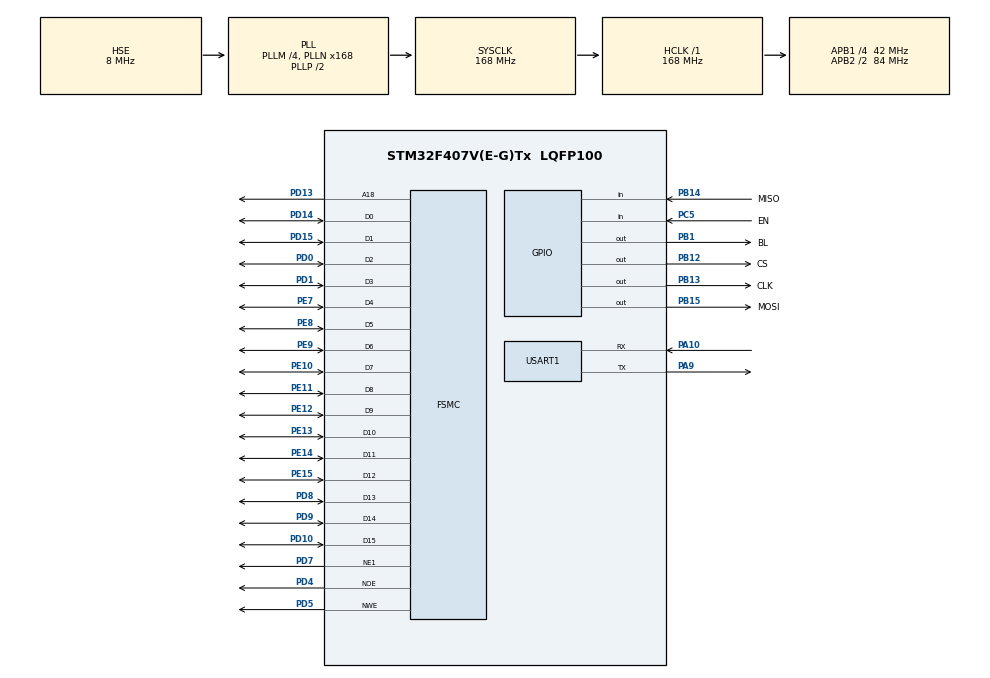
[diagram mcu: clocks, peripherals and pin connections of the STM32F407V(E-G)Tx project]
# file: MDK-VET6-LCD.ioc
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FSMC.AddressSetupTime1=0
FSMC.BusTurnAroundDuration1=0
FSMC.DataSetupTime1=60
FSMC.ExtendedAddressSetupTime1=0
FSMC.ExtendedBusTurnAroundDuration1=0
FSMC.ExtendedDataSetupTime1=2
FSMC.ExtendedMode1=FSMC_EXTENDED_MODE_ENABLE
Mcu.Family=STM32F4
Mcu.Name=STM32F407V(E-G)Tx
Mcu.Package=LQFP100
NVIC.PriorityGroup=NVIC_PRIORITYGROUP_4
PA10.Mode=Asynchronous
PA10.Signal=USART1_RX
PA13.Mode=Serial_Wire
PA13.Signal=SYS_JTMS-SWDIO
PA14.Mode=Serial_Wire
PA14.Signal=SYS_JTCK-SWCLK
PA9.Mode=Asynchronous
PA9.Signal=USART1_TX
PB1.GPIO_Label=BL
PB1.GPIO_Speed=GPIO_SPEED_FREQ_VERY_HIGH
PB1.Signal=GPIO_Output
PB12.GPIO_Label=CS
PB12.GPIO_PuPd=GPIO_NOPULL
PB12.GPIO_Speed=GPIO_SPEED_FREQ_VERY_HIGH
PB12.Signal=GPIO_Output
PB13.GPIO_Label=CLK
PB13.GPIO_PuPd=GPIO_NOPULL
PB13.GPIO_Speed=GPIO_SPEED_FREQ_VERY_HIGH
PB13.Signal=GPIO_Output
PB14.GPIO_Label=MISO
PB14.GPIO_PuPd=GPIO_PULLUP
PB14.Signal=GPIO_Input
PB15.GPIO_Label=MOSI
PB15.GPIO_PuPd=GPIO_NOPULL
PB15.GPIO_Speed=GPIO_SPEED_FREQ_VERY_HIGH
PB15.Signal=GPIO_Output
PC5.GPIO_Label=EN
PC5.GPIO_PuPd=GPIO_PULLDOWN
PC5.Signal=GPIO_Input
PD0.Mode=16b-d1
PD0.Signal=FSMC_D2
PD1.Mode=16b-d1
PD1.Signal=FSMC_D3
PD10.Mode=16b-d1
PD10.Signal=FSMC_D15
PD13.Mode=A18_1
PD13.Signal=FSMC_A18
PD14.Mode=16b-d1
PD14.Signal=FSMC_D0
PD15.Mode=16b-d1
PD15.Signal=FSMC_D1
PD4.Mode=Lcd1
PD4.Signal=FSMC_NOE
PD5.Mode=Lcd1
PD5.Signal=FSMC_NWE
PD7.Mode=NorPsramChipSelect1_1
PD7.Signal=FSMC_NE1
PD8.Mode=16b-d1
PD8.Signal=FSMC_D13
PD9.Mode=16b-d1
PD9.Signal=FSMC_D14
PE10.Mode=16b-d1
PE10.Signal=FSMC_D7
PE11.Mode=16b-d1
PE11.Signal=FSMC_D8
PE12.Mode=16b-d1
PE12.Signal=FSMC_D9
PE13.Mode=16b-d1
PE13.Signal=FSMC_D10
PE14.Mode=16b-d1
PE14.Signal=FSMC_D11
PE15.Mode=16b-d1
PE15.Signal=FSMC_D12
PE7.Mode=16b-d1
PE7.Signal=FSMC_D4
PE8.Mode=16b-d1
PE8.Signal=FSMC_D5
PE9.Mode=16b-d1
PE9.Signal=FSMC_D6
PH0-OSC_IN.Mode=HSE-External-Oscillator
PH0-OSC_IN.Signal=RCC_OSC_IN
PH1-OSC_OUT.Mode=HSE-External-Oscillator
PH1-OSC_OUT.Signal=RCC_OSC_OUT
ProjectManager.HeapSize=0x200
ProjectManager.StackSize=0x400
ProjectManager.TargetToolchain=MDK-ARM V5.32
RCC.48MHZClocksFreq_Value=84000000
RCC.AHBFreq_Value=168000000
RCC.APB1CLKDivider=RCC_HCLK_DIV4
RCC.APB1Freq_Value=42000000
RCC.APB1TimFreq_Value=84000000
RCC.APB2CLKDivider=RCC_HCLK_DIV2
RCC.APB2Freq_Value=84000000
RCC.APB2TimFreq_Value=168000000
RCC.CortexFreq_Value=168000000
RCC.HCLKFreq_Value=168000000
RCC.HSE_VALUE=8000000
RCC.HSI_VALUE=16000000
RCC.LSE_VALUE=32768
RCC.PLLM=4
RCC.PLLN=168
RCC.PLLSourceVirtual=RCC_PLLSOURCE_HSE
RCC.SYSCLKFreq_VALUE=168000000
RCC.SYSCLKSource=RCC_SYSCLKSOURCE_PLLCLK
RCC.VCOOutputFreq_Value=336000000
USART1.VirtualMode=VM_ASYNC
board=custom

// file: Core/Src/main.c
/* USER CODE BEGIN Header */
/**
  ******************************************************************************
  * @file           : main.c
  * @brief          : Main program body
  ******************************************************************************
  * @attention
  *
  * Copyright (c) 2024 STMicroelectronics.
  * All rights reserved.
  *
  * This software is licensed under terms that can be found in the LICENSE file
  * in the root directory of this software component.
  * If no LICENSE file comes with this software, it is provided AS-IS.
  *
  ******************************************************************************
  */
/* USER CODE END Header */
#include "main.h"
#include "usart.h"
#include "gpio.h"
#include "fsmc.h"

/* USER CODE BEGIN Includes */
#include "lcd.h"
#include "touch.h"
#include <string.h>
#include <stdio.h>
/* USER CODE END Includes */

void SystemClock_Config(void);

int main(void)
{

    /* MCU Configuration--------------------------------------------------------*/

    /* Reset of all peripherals, Initializes the Flash interface and the Systick. */
    HAL_Init();

    /* Configure the system clock */
    SystemClock_Config();

    /* Initialize all configured peripherals */
    MX_GPIO_Init();
    MX_FSMC_Init();
    MX_USART1_UART_Init();
    /* USER CODE BEGIN 2 */
    lcd_init();
    lcd_show_string(0, 200, 320, 24, 24, "hello", RED);
	printf("hello\n");
	printf("hello\n");
	printf("hello\n");
	printf("hello\n");
    /* USER CODE END 2 */

    /* Infinite loop */
    while (1)
    {

        /* USER CODE BEGIN 3 */
        tp_scan(0);
        lcd_show_num(0, 0, tp_dev.x[0], 5, 24, RED);
        lcd_show_num(0, 24, tp_dev.y[0], 5, 24, RED);
        lcd_show_num(0, 72, tp_dev.x[1], 5, 24, RED);
        lcd_show_num(0, 96, tp_dev.y[1], 5, 24, RED);

    }

    /* USER CODE END 3 */
}

void SystemClock_Config(void)
{
    RCC_OscInitTypeDef RCC_OscInitStruct = {0};
    RCC_ClkInitTypeDef RCC_ClkInitStruct = {0};

    /** Configure the main internal regulator output voltage
    */
    __HAL_RCC_PWR_CLK_ENABLE();
    __HAL_PWR_VOLTAGESCALING_CONFIG(PWR_REGULATOR_VOLTAGE_SCALE1);

    /** Initializes the RCC Oscillators according to the specified parameters
    * in the RCC_OscInitTypeDef structure.
    */
    RCC_OscInitStruct.OscillatorType = RCC_OSCILLATORTYPE_HSE;
    RCC_OscInitStruct.HSEState = RCC_HSE_ON;
    RCC_OscInitStruct.PLL.PLLState = RCC_PLL_ON;
    RCC_OscInitStruct.PLL.PLLSource = RCC_PLLSOURCE_HSE;
    RCC_OscInitStruct.PLL.PLLM = 4;
    RCC_OscInitStruct.PLL.PLLN = 168;
    RCC_OscInitStruct.PLL.PLLP = RCC_PLLP_DIV2;
    RCC_OscInitStruct.PLL.PLLQ = 4;

    if (HAL_RCC_OscConfig(&RCC_OscInitStruct) != HAL_OK)
    {
        Error_Handler();
    }

    /** Initializes the CPU, AHB and APB buses clocks
    */
    RCC_ClkInitStruct.ClockType = RCC_CLOCKTYPE_HCLK|RCC_CLOCKTYPE_SYSCLK
                                  |RCC_CLOCKTYPE_PCLK1|RCC_CLOCKTYPE_PCLK2;
    RCC_ClkInitStruct.SYSCLKSource = RCC_SYSCLKSOURCE_PLLCLK;
    RCC_ClkInitStruct.AHBCLKDivider = RCC_SYSCLK_DIV1;
    RCC_ClkInitStruct.APB1CLKDivider = RCC_HCLK_DIV4;
    RCC_ClkInitStruct.APB2CLKDivider = RCC_HCLK_DIV2;

    if (HAL_RCC_ClockConfig(&RCC_ClkInitStruct, FLASH_LATENCY_5) != HAL_OK)
    {
        Error_Handler();
    }
}

/* USER CODE BEGIN 4 */
int fputc(int ch, FILE *f)
{
    HAL_UART_Transmit(&huart1, (uint8_t *)&ch, 1, HAL_MAX_DELAY);
    return ch;
}

/* USER CODE END 4 */

void Error_Handler(void)
{
    __disable_irq();
    while (1)
    {
    }
}
